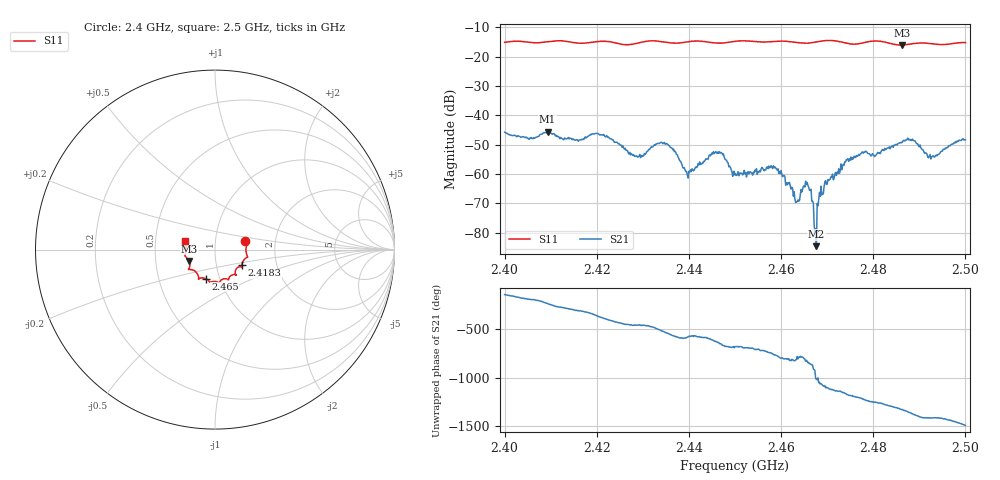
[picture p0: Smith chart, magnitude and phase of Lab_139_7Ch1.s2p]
# Hz S RI R 50
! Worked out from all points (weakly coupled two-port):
!   601 points, 2.4 GHz to 2.5 GHz, reference 50 ohm
!   highest |S21| = -45.62 dB at 2.4093 GHz (marker M1); lowest = -84.6 dB at 2.4677 GHz (marker M2)
!   lowest |S11| = -16.1 dB at 2.4862 GHz (marker M3), VSWR 1.37, Z = 37.1 - j4.83 ohm
!   |S11| at or under -10 dB: start of sweep to end of sweep
!   S12 and S22 are empty: the file has one direction only
!   S11 on the Smith chart (normalised r, x): 2.4 GHz: 1.40, +0.13; 2.4183 GHz: 1.33, -0.24; 2.465 GHz: 0.86, -0.29; 2.5 GHz: 0.71, +0.07
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2.4e9  0.1692 0.046  -0.00412 -0.00311  0 0  0 0
2.409333e9  0.1773 -0.0301  -0.003 0.00429  0 0  0 0
2.416667e9  0.155 -0.0683  0.0027 0.0028  0 0  0 0
2.418333e9  0.1498 -0.0871  0.00404 0.00205  0 0  0 0
2.428667e9  0.1124 -0.1257  -0.000331 -0.00201  0 0  0 0
2.433333e9  0.1175 -0.141  -0.00264 -0.00203  0 0  0 0
2.436667e9  0.0933 -0.1425  -0.00234 0.00128  0 0  0 0
2.439667e9  0.0763 -0.1617  -0.000708 0.000634  0 0  0 0
2.446167e9  0.0516 -0.1625  0.000201 0.00222  0 0  0 0
2.45e9  0.0255 -0.1808  0.000741 0.000605  0 0  0 0
2.458833e9  -0.0228 -0.1805  0.000814 -0.000967  0 0  0 0
2.4635e9  -0.0388 -0.1697  0.000154 -0.000302  0 0  0 0
2.465e9  -0.0524 -0.1617  3.92e-05 -0.000628  0 0  0 0
2.466667e9  -0.0713 -0.1573  -0.000281 -0.000196  0 0  0 0
2.467167e9  -0.0765 -0.1575  -0.000133 4.49e-05  0 0  0 0
2.467667e9  -0.0811 -0.1584  2.94e-05 5.09e-05  0 0  0 0
2.469167e9  -0.0902 -0.1629  0.000454 -4.51e-05  0 0  0 0
2.474e9  -0.0946 -0.1423  0.000106 -0.00161  0 0  0 0
2.483333e9  -0.1414 -0.0964  -0.00238 0.0014  0 0  0 0
2.486167e9  -0.144 -0.0634  -0.00107 0.00324  0 0  0 0
2.493e9  -0.1639 -0.0199  0.0019 0.000796  0 0  0 0
2.5e9  -0.1672 0.0469  0.00218 -0.00313  0 0  0 0
